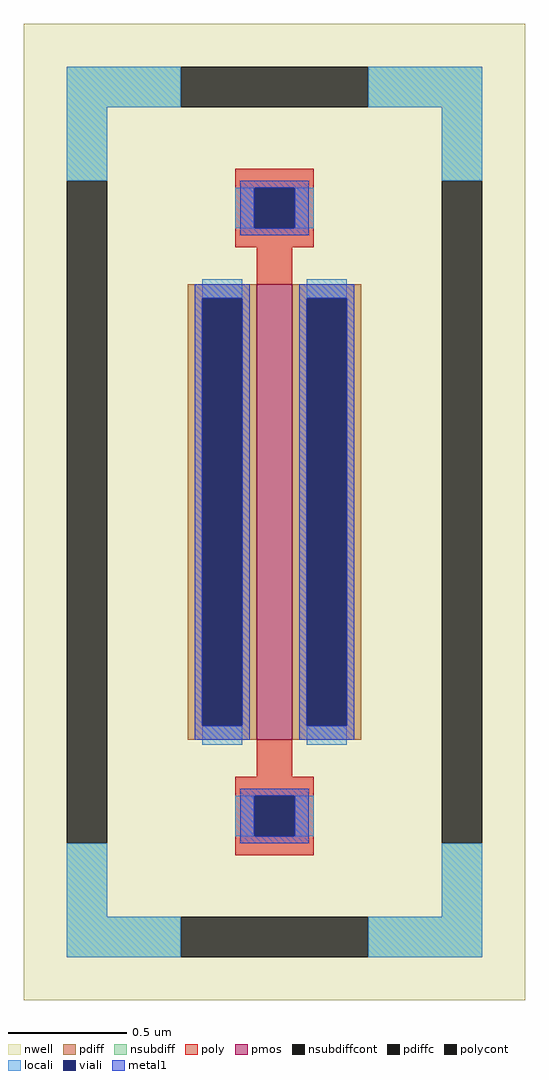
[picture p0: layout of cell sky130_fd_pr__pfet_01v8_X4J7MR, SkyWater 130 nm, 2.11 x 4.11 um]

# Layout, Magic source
magic
tech sky130A
magscale 1 2
<< nwell >>
rect -211 -411 211 411
<< pmos >>
rect -15 -192 15 192
<< pdiff >>
rect -73 180 -15 192
rect -73 -180 -61 180
rect -27 -180 -15 180
rect -73 -192 -15 -180
rect 15 180 73 192
rect 15 -180 27 180
rect 61 -180 73 180
rect 15 -192 73 -180
<< pdiffc >>
rect -61 -180 -27 180
rect 27 -180 61 180
<< nsubdiff >>
rect -175 341 -79 375
rect 79 341 175 375
rect -175 279 -141 341
rect 141 279 175 341
rect -175 -341 -141 -279
rect 141 -341 175 -279
rect -175 -375 -79 -341
rect 79 -375 175 -341
<< nsubdiffcont >>
rect -79 341 79 375
rect -175 -279 -141 279
rect 141 -279 175 279
rect -79 -375 79 -341
<< poly >>
rect -33 273 33 289
rect -33 239 -17 273
rect 17 239 33 273
rect -33 223 33 239
rect -15 192 15 223
rect -15 -223 15 -192
rect -33 -239 33 -223
rect -33 -273 -17 -239
rect 17 -273 33 -239
rect -33 -289 33 -273
<< polycont >>
rect -17 239 17 273
rect -17 -273 17 -239
<< locali >>
rect -175 341 -79 375
rect 79 341 175 375
rect -175 279 -141 341
rect 141 279 175 341
rect -33 239 -17 273
rect 17 239 33 273
rect -61 180 -27 196
rect -61 -196 -27 -180
rect 27 180 61 196
rect 27 -196 61 -180
rect -33 -273 -17 -239
rect 17 -273 33 -239
rect -175 -341 -141 -279
rect 141 -341 175 -279
rect -175 -375 -79 -341
rect 79 -375 175 -341
<< viali >>
rect -17 239 17 273
rect -61 -180 -27 180
rect 27 -180 61 180
rect -17 -273 17 -239
<< metal1 >>
rect -29 273 29 279
rect -29 239 -17 273
rect 17 239 29 273
rect -29 233 29 239
rect -67 180 -21 192
rect -67 -180 -61 180
rect -27 -180 -21 180
rect -67 -192 -21 -180
rect 21 180 67 192
rect 21 -180 27 180
rect 61 -180 67 180
rect 21 -192 67 -180
rect -29 -239 29 -233
rect -29 -273 -17 -239
rect 17 -273 29 -239
rect -29 -279 29 -273
<< properties >>
string FIXED_BBOX -158 -358 158 358
string gencell sky130_fd_pr__pfet_01v8
string library sky130
string parameters w 1.92 l 0.15 m 1 nf 1 diffcov 100 polycov 100 guard 1 glc 1 grc 1 gtc 1 gbc 1 tbcov 100 rlcov 100 topc 1 botc 1 poverlap 0 doverlap 1 lmin 0.15 wmin 0.42 compatible {sky130_fd_pr__pfet_01v8  sky130_fd_pr__pfet_01v8_lvt sky130_fd_pr__pfet_01v8_hvt  sky130_fd_pr__pfet_g5v0d10v5} full_metal 1 viasrc 100 viadrn 100 viagate 100 viagb 0 viagr 0 viagl 0 viagt 0
<< end >>
